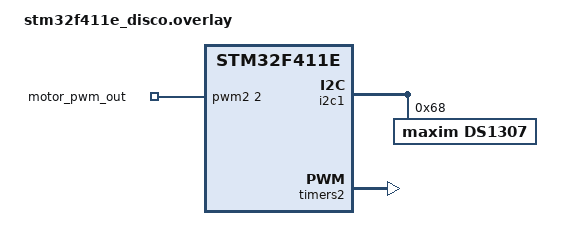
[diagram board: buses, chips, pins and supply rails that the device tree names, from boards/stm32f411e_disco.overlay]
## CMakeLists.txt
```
cmake_minimum_required(VERSION 3.20.0)
find_package(Zephyr REQUIRED HINTS $ENV{ZEPHYR_BASE})
project(solar_tracker)
target_sources(app PRIVATE src/main.c)
```

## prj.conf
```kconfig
CONFIG_I2C=y
CONFIG_GPIO=y
CONFIG_PWM=y
CONFIG_CONSOLE=y
CONFIG_PRINTK=y
CONFIG_STDOUT_CONSOLE=y
CONFIG_SERIAL=y
CONFIG_NEWLIB_LIBC=y
CONFIG_NEWLIB_LIBC_FLOAT_PRINTF=y
CONFIG_MAIN_STACK_SIZE=4096
CONFIG_LOG=n
CONFIG_SHELL=y
CONFIG_SHELL_BACKEND_SERIAL=y
```

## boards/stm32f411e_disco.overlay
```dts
#include <zephyr/dt-bindings/pwm/pwm.h>

&i2c1 {
	ds1307: ds1307@68 {
		compatible = "maxim,ds1307";
		reg = <0x68>;
	};
};

&timers2 {
    status = "okay";
    st,prescaler = <9>;   /* tune later once you know your target PWM freq */
    pwm2: pwm {
        status = "okay";
        pinctrl-0 = <&tim2_ch2_pa1>;   /* was tim2_ch1_pa1 - PA1 is CH2, not CH1 */
        pinctrl-names = "default";
    };
};

/ {
    pwmleds {
        compatible = "pwm-leds";
        motor_pwm_out: motor_pwm_out {
            pwms = <&pwm2 2 PWM_KHZ(1) PWM_POLARITY_NORMAL>;
        };
    };
    aliases {
        motor-pwm = &motor_pwm_out;
    };
};
```

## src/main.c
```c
#include <zephyr/kernel.h>
#include <zephyr/device.h>
#include <zephyr/drivers/i2c.h>
#include <zephyr/drivers/gpio.h>
#include <zephyr/drivers/pwm.h>
#include <zephyr/shell/shell.h>
#include <zephyr/sys/printk.h>
#include <stdio.h>
#include <stdlib.h>
#include <math.h>
#include <stdint.h>

#define I2C_NODE DT_NODELABEL(i2c1)

#define DS1307_ADDR   0x68
#define MPU6050_ADDR  0x69

#define RAD_TO_DEG 57.2957795f

/* Complementary filter coefficient */
#define ALPHA 0.98f

/* Sampling period (100 Hz) */
#define DT 0.01f
#define PI_F           3.14159265f
#define DEG_TO_RAD_F   (PI_F / 180.0f)

/* Puducherry, India */
#define SITE_LAT       11.9139f     // degrees N
#define SITE_LON       79.8145f     // degrees E
#define TIMEZONE_OFFSET 5.5f

#define ACTUATOR_MIN   60.0f
#define ACTUATOR_MAX   130.0f
#define ACTUATOR_FLAT  95.0f   // <-- CALIBRATE: raw actuator reading when panel is perfectly flat

#define MPU_ROLL_AT_FLAT           0.13f   // from your flat reading
#define MPU_ROLL_TO_ACTUATOR_SIGN  -1.0f   // <-- CALIBRATE: verify against real end-stops

typedef enum { MOTOR_STOP, MOTOR_FORWARD, MOTOR_REVERSE } motor_cmd_t;

/* FIX: this takes roll, not pitch - roll is the axis confirmed by your end-stop test */
float mpu_current_actuator_angle(float roll_now)
{
    float delta = roll_now - MPU_ROLL_AT_FLAT;
    float angle = ACTUATOR_FLAT + (MPU_ROLL_TO_ACTUATOR_SIGN * delta);

    if (angle < ACTUATOR_MIN) angle = ACTUATOR_MIN;
    if (angle > ACTUATOR_MAX) angle = ACTUATOR_MAX;

    return angle;
}

static const struct device *i2c;

/* Filtered angles */
float roll = 0.0f;
float pitch = 0.0f;

/* Gyroscope offsets (can be calibrated later) */
static float gyro_x_offset = 0.0f;
static float gyro_y_offset = 0.0f;
static float gyro_z_offset = 0.0f;

/* Sun position */
typedef struct
{
    float elevation;   // degrees above horizon (negative = below, sun down)
    float azimuth;     // degrees clockwise from true north
    float hour_angle;  // degrees, negative=morning, 0=solar noon, positive=afternoon
} sun_pos_t;


/* ---------------- RTC Structure ---------------- */

typedef struct
{
    uint8_t sec;
    uint8_t min;
    uint8_t hour;
    uint8_t day;
    uint8_t date;
    uint8_t month;
    uint8_t year;
} rtc_time_t;

/* ---------------- MPU Structure ---------------- */

typedef struct
{
    int16_t ax;
    int16_t ay;
    int16_t az;

    int16_t temp;

    int16_t gx;
    int16_t gy;
    int16_t gz;

} mpu6050_raw_t;


/* ---------------- BCD Conversion ---------------- */

static uint8_t bcd_to_dec(uint8_t value)
{
    return ((value >> 4) * 10) + (value & 0x0F);
}

static uint8_t dec_to_bcd(uint8_t value)
{
    return ((value / 10) << 4) | (value % 10);
}


/* ---------------- DS1307 Read ---------------- */

int rtc_read(rtc_time_t *t)
{
    uint8_t reg = 0x00;
    uint8_t data[7];

    if (i2c_write_read(i2c,
                       DS1307_ADDR,
                       &reg,
                       1,
                       data,
                       7))
    {
        return -1;
    }

    t->sec   = bcd_to_dec(data[0] & 0x7F);
    t->min   = bcd_to_dec(data[1]);
    t->hour  = bcd_to_dec(data[2] & 0x3F);
    t->day   = bcd_to_dec(data[3]);
    t->date  = bcd_to_dec(data[4]);
    t->month = bcd_to_dec(data[5]);
    t->year  = bcd_to_dec(data[6]);

    return 0;
}

/* ---------------- DS1307 Write ---------------- */

int rtc_write(rtc_time_t *t)
{
    uint8_t data[8];

    data[0] = 0x00;                       /* starting register address */
    data[1] = dec_to_bcd(t->sec) & 0x7F;  /* bit7=CH, cleared here to enable oscillator */
    data[2] = dec_to_bcd(t->min);
    data[3] = dec_to_bcd(t->hour) & 0x3F; /* forces 24-hour mode */
    data[4] = dec_to_bcd(t->day);         /* day-of-week, unused by sun calc */
    data[5] = dec_to_bcd(t->date);
    data[6] = dec_to_bcd(t->month);
    data[7] = dec_to_bcd(t->year);

    return i2c_write(i2c, data, 8, DS1307_ADDR);
}

/* ---------------- Shell Command: setrtc ---------------- */

static int cmd_setrtc(const struct shell *shell, size_t argc, char **argv)
{
    if (argc != 2)
    {
        shell_error(shell, "Usage: setrtc year,mon,day,hour,min,sec");
        return -EINVAL;
    }

    int year, mon, day, hour, min, sec;

    int n = sscanf(argv[1], "%d,%d,%d,%d,%d,%d",
                   &year, &mon, &day, &hour, &min, &sec);

    if (n != 6)
    {
        shell_error(shell, "Parse error - need 6 comma-separated values");
        return -EINVAL;
    }

    if (mon < 1 || mon > 12 || day < 1 || day > 31 ||
        hour > 23 || min > 59 || sec > 59)
    {
        shell_error(shell, "Value out of range");
        return -EINVAL;
    }

    rtc_time_t t = {
        .year  = (uint8_t)(year % 100),
        .month = (uint8_t)mon,
        .date  = (uint8_t)day,
        .hour  = (uint8_t)hour,
        .min   = (uint8_t)min,
        .sec   = (uint8_t)sec,
        .day   = 1   /* day-of-week, not used by sun_calculate() */
    };

    if (rtc_write(&t) == 0)
    {
        shell_print(shell, "RTC set: 20%02d-%02d-%02d %02d:%02d:%02d",
                    t.year, t.month, t.date, t.hour, t.min, t.sec);
    }
    else
    {
        shell_error(shell, "RTC write failed - check I2C");
    }

    return 0;
}

SHELL_CMD_REGISTER(setrtc, NULL,
                    "Set RTC time. Usage: setrtc year,mon,day,hour,min,sec",
                    cmd_setrtc);


/* ---------------- MPU6050 Wakeup ---------------- */

int mpu_init(void)
{
    uint8_t buf[2];

    buf[0] = 0x6B;
    buf[1] = 0x00;

    return i2c_write(i2c,
                     buf,
                     2,
                     MPU6050_ADDR);
}
/* ---------------- MPU6050 Read Raw Data ---------------- */

int mpu_read_raw(mpu6050_raw_t *raw)
{
    uint8_t reg = 0x3B;
    uint8_t data[14];

    if (i2c_write_read(i2c,
                       MPU6050_ADDR,
                       &reg,
                       1,
                       data,
                       14))
    {
        return -1;
    }

    raw->ax = (int16_t)((data[0] << 8) | data[1]);
    raw->ay = (int16_t)((data[2] << 8) | data[3]);
    raw->az = (int16_t)((data[4] << 8) | data[5]);

    raw->temp = (int16_t)((data[6] << 8) | data[7]);

    raw->gx = (int16_t)((data[8] << 8) | data[9]);
    raw->gy = (int16_t)((data[10] << 8) | data[11]);
    raw->gz = (int16_t)((data[12] << 8) | data[13]);

    return 0;
}


/* ---------------- Convert Raw Data ---------------- */

void calculate_angles(mpu6050_raw_t *raw,
                      float *roll_angle,
                      float *pitch_angle)
{
    /* Accelerometer values in g */
    float ax = raw->ax / 16384.0f;
    float ay = raw->ay / 16384.0f;
    float az = raw->az / 16384.0f;

    /* Gyroscope values in deg/s */
    float gx = (raw->gx / 131.0f) - gyro_x_offset;
    float gy = (raw->gy / 131.0f) - gyro_y_offset;

    /* Accelerometer angles */
    float accel_roll =
        atan2f(ay, az) * RAD_TO_DEG;

    float accel_pitch =
        atan2f(-ax,
               sqrtf((ay * ay) + (az * az)))
        * RAD_TO_DEG;

    /* Complementary Filter */

    *roll_angle =
        ALPHA *
        (*roll_angle + gx * DT)
        +
        (1.0f - ALPHA)
        *
        accel_roll;

    *pitch_angle =
        ALPHA *
        (*pitch_angle + gy * DT)
        +
        (1.0f - ALPHA)
        *
        accel_pitch;
}


/* ---------------- Temperature ---------------- */

float mpu_temperature(mpu6050_raw_t *raw)
{
    return (raw->temp / 340.0f) + 36.53f;
}


/* ---------------- Print Data ---------------- */

void print_status(rtc_time_t *rtc,
                  mpu6050_raw_t *raw)
{
    float temp = mpu_temperature(raw);

    printk("\n========================================\n");

    printk("Date : %02d/%02d/20%02d\n",
           rtc->date,
           rtc->month,
           rtc->year);

    printk("Time : %02d:%02d:%02d\n",
           rtc->hour,
           rtc->min,
           rtc->sec);

    printk("\n");

    printf("Roll x100  : %d\n", (int)(roll * 100));
    printf("Pitch x100 : %d\n", (int)(pitch * 100));
    printk("\n");

    printf("Temp x100  : %d\n", (int)(temp * 100));
    printk("\n");

    printk("Accel X : %6d\n", raw->ax);
    printk("Accel Y : %6d\n", raw->ay);
    printk("Accel Z : %6d\n", raw->az);

    printk("\n");

    printk("Gyro X : %6d\n", raw->gx);
    printk("Gyro Y : %6d\n", raw->gy);
    printk("Gyro Z : %6d\n", raw->gz);

    printk("========================================\n");
}

/* Day-of-year from date, using RTC's 2-digit year (assumes 20xx) */
static int day_of_year(uint8_t day_of_month, uint8_t month, uint8_t year_2digit)
{
    static const int cum_days[12] =
        {0, 31, 59, 90, 120, 151, 181, 212, 243, 273, 304, 334};

    int year = 2000 + year_2digit;
    int doy = cum_days[month - 1] + day_of_month;

    /* Leap year correction (valid 2000-2099) */
    int is_leap = (year % 4 == 0 && (year % 100 != 0 || year % 400 == 0));
    if (is_leap && month > 2)
    {
        doy += 1;
    }

    return doy;
}


void sun_calculate(rtc_time_t *t, sun_pos_t *out)
{
    int doy = day_of_year(t->date, t->month, t->year);

    float hour_decimal = t->hour + (t->min / 60.0f) + (t->sec / 3600.0f);

    /* Fractional year gamma, in radians */
    float gamma = (2.0f * PI_F / 365.0f) *
                  (doy - 1 + (hour_decimal - 12.0f) / 24.0f);

    /* Equation of time, in minutes */
    float eqtime = 229.18f * (0.000075f
                  + 0.001868f * cosf(gamma)
                  - 0.032077f * sinf(gamma)
                  - 0.014615f * cosf(2.0f * gamma)
                  - 0.040849f * sinf(2.0f * gamma));

    /* Solar declination, in radians */
    float decl = 0.006918f
                - 0.399912f * cosf(gamma)
                + 0.070257f * sinf(gamma)
                - 0.006758f * cosf(2.0f * gamma)
                + 0.000907f * sinf(2.0f * gamma)
                - 0.002697f * cosf(3.0f * gamma)
                + 0.001480f * sinf(3.0f * gamma);

    /* True solar time, in minutes */
    float time_offset = eqtime + 4.0f * SITE_LON - 60.0f * TIMEZONE_OFFSET;
    float tst = hour_decimal * 60.0f + time_offset;

    /* Hour angle, in degrees (-180 to 180, 0 = solar noon) */
    float ha_deg = (tst / 4.0f) - 180.0f;
    float ha_rad = ha_deg * DEG_TO_RAD_F;

    out->hour_angle = ha_deg;

    float lat_rad = SITE_LAT * DEG_TO_RAD_F;

    /* Solar zenith angle */
    float cos_zenith = sinf(lat_rad) * sinf(decl)
                      + cosf(lat_rad) * cosf(decl) * cosf(ha_rad);

    if (cos_zenith > 1.0f)  cos_zenith = 1.0f;
    if (cos_zenith < -1.0f) cos_zenith = -1.0f;

    float zenith_rad = acosf(cos_zenith);

    out->elevation = 90.0f - (zenith_rad / DEG_TO_RAD_F);

    /* Azimuth (clockwise from north, 0-360) */
    float cos_az = (sinf(decl) - sinf(lat_rad) * cos_zenith)
                   / (cosf(lat_rad) * sinf(zenith_rad));

    if (cos_az > 1.0f)  cos_az = 1.0f;
    if (cos_az < -1.0f) cos_az = -1.0f;

    float az_rad = acosf(cos_az);
    float az_deg = az_rad / DEG_TO_RAD_F;

    if (ha_deg > 0.0f)
    {
        out->azimuth = 360.0f - az_deg;
    }
    else
    {
        out->azimuth = az_deg;
    }
}

/* Below this elevation, tracking gains negligible energy but costs motor wear -
 * stop actively chasing the sun and hold position instead. Tune to taste. */
#define ELEVATION_CUTOFF   5.0f

/* Hour angle runs ~-120 (sunrise) to 0 (noon) to ~+120 (sunset) per your
 * clock-position description (60 -> 180 -> wraps to -60/300). This scale
 * compresses that ~120 deg half-swing into the actuator's real half-range
 * (ACTUATOR_MAX - ACTUATOR_FLAT). <-- CALIBRATE: 120 is approximate: if your
 * actuator hits its end-stop noticeably before/after true sunrise-sunset,
 * adjust this number up/down to match. */
#define HOUR_ANGLE_HALF_SWING  120.0f
#define HOUR_ANGLE_SCALE  ((ACTUATOR_MAX - ACTUATOR_FLAT) / HOUR_ANGLE_HALF_SWING)

float sun_to_actuator_angle(sun_pos_t *sun)
{
    float actuator_angle;

    if (sun->elevation < ELEVATION_CUTOFF)
    {
        /* Sun near/below horizon - hold at whichever end-stop matches
         * morning (before solar noon) or evening (after solar noon),
         * instead of always defaulting to one side. */
        actuator_angle = (sun->hour_angle < 0.0f) ? ACTUATOR_FLAT : ACTUATOR_FLAT;
    }
    else
    {
        actuator_angle = ACTUATOR_FLAT + (sun->hour_angle * HOUR_ANGLE_SCALE);

        if (actuator_angle < ACTUATOR_MIN) actuator_angle = ACTUATOR_FLAT;
        if (actuator_angle > ACTUATOR_MAX) actuator_angle = ACTUATOR_FLAT;
    }

    return actuator_angle;
}

motor_cmd_t tracker_control_step(float target_angle, float current_angle)
{
    int target_deg  = (int)roundf(target_angle);
    int current_deg = (int)roundf(current_angle);

    if (target_deg == current_deg)
    {
        return MOTOR_STOP;
    }
    else if (target_deg > current_deg)
    {
        return MOTOR_FORWARD;   // <-- CALIBRATE: confirm this drives toward 130 (sunset), not away
    }
    else
    {
        return MOTOR_REVERSE;
    }
}

/* ---------------- SmartElex 30S Motor Driver (DIR=PB15, PWM=PA0) ---------------- */

#define MOTOR_DIR_PORT_NODE   DT_NODELABEL(gpiob)
#define MOTOR_DIR_PIN         15

#define MOTOR_PWM_PERIOD_NS   PWM_KHZ(1)   // 1 kHz - fine for a DC brushed driver, adjust if the datasheet specifies otherwise
#define MOTOR_SPEED_PERCENT   70            // fixed drive duty (0-100) - bang-bang doesn't need variable speed

static const struct device *motor_dir_port;
static const struct pwm_dt_spec motor_pwm = PWM_DT_SPEC_GET(DT_ALIAS(motor_pwm));

int motor_init(void)
{
    motor_dir_port = DEVICE_DT_GET(MOTOR_DIR_PORT_NODE);

    if (!device_is_ready(motor_dir_port))
    {
        printk("Motor DIR GPIO port not ready!\n");
        return -1;
    }

    if (!device_is_ready(motor_pwm.dev))
    {
        printk("Motor PWM device not ready!\n");
        return -1;
    }

    return gpio_pin_configure(motor_dir_port, MOTOR_DIR_PIN, GPIO_OUTPUT_INACTIVE);
}

void motor_drive(motor_cmd_t cmd)
{
    uint32_t pulse = (MOTOR_PWM_PERIOD_NS * MOTOR_SPEED_PERCENT) / 100;
    int ret;

    switch (cmd)
    {
        case MOTOR_FORWARD:
            gpio_pin_set(motor_dir_port, MOTOR_DIR_PIN, 1);   /* <-- CALIBRATE: confirm this drives toward 130 deg */
            ret = pwm_set_dt(&motor_pwm, MOTOR_PWM_PERIOD_NS, pulse);
            if (ret) printk("pwm_set_dt FORWARD failed: %d\n", ret);
            break;

        case MOTOR_REVERSE:
            gpio_pin_set(motor_dir_port, MOTOR_DIR_PIN, 0);
            ret = pwm_set_dt(&motor_pwm, MOTOR_PWM_PERIOD_NS, pulse);
            if (ret) printk("pwm_set_dt REVERSE failed: %d\n", ret);
            break;

        case MOTOR_STOP:
        default:
            ret = pwm_set_dt(&motor_pwm, MOTOR_PWM_PERIOD_NS, 0);   /* 0% duty - motor off */
            if (ret) printk("pwm_set_dt STOP failed: %d\n", ret);
            break;
    }
}

/* ---------------- Main ---------------- */

int main(void)
{
    rtc_time_t rtc;
    mpu6050_raw_t raw;

    i2c = DEVICE_DT_GET(I2C_NODE);

    if (!device_is_ready(i2c))
    {
        printk("I2C device not ready!\n");
        return 0;
    }

    printk("\n");
    printk("=====================================\n");
    printk(" DS1307 + MPU6050 Demo\n");
    printk(" STM32F411E-DISCO + Zephyr\n");
    printk("=====================================\n");

    /* Wake up MPU6050 */

    if (mpu_init())
    {
        printk("Failed to initialize MPU6050\n");
        return 0;
    }

    printk("MPU6050 Initialized\n");

    if (motor_init())
    {
        printk("Failed to initialize motor driver\n");
        return 0;
    }

    printk("Motor Driver Initialized\n");

    /* Allow sensor to stabilize */

    k_sleep(K_MSEC(500));

    /* -------- Gyroscope Calibration -------- */

    printk("Calibrating Gyroscope...\n");

    float gx_sum = 0.0f;
    float gy_sum = 0.0f;
    float gz_sum = 0.0f;

    for (int i = 0; i < 500; i++)
    {
        if (mpu_read_raw(&raw) == 0)
        {
            gx_sum += raw.gx;
            gy_sum += raw.gy;
            gz_sum += raw.gz;
        }

        k_sleep(K_MSEC(2));
    }

    gyro_x_offset = (gx_sum / 500.0f) / 131.0f;
    gyro_y_offset = (gy_sum / 500.0f) / 131.0f;
    gyro_z_offset = (gz_sum / 500.0f) / 131.0f;

    printk("Calibration Complete\n");

    /* Initialize complementary filter */

    if (mpu_read_raw(&raw) == 0)
    {
        float ax = raw.ax / 16384.0f;
        float ay = raw.ay / 16384.0f;
        float az = raw.az / 16384.0f;

        roll =
            atan2f(ay, az) * RAD_TO_DEG;

        pitch =
            atan2f(-ax,
                   sqrtf(ay * ay + az * az))
            * RAD_TO_DEG;
    }

    int counter = 0;

    while (1)
    {
        if (rtc_read(&rtc) == 0 &&
            mpu_read_raw(&raw) == 0)
        {
            calculate_angles(&raw,
                             &roll,
                             &pitch);

            /* Print every 1 second */

            counter++;

            if (counter >= 100)
            {
                counter = 0;

                sun_pos_t sun;
                sun_calculate(&rtc, &sun);

                print_status(&rtc, &raw);

                float target_angle = sun_to_actuator_angle(&sun);

                printf("Target Actuator Angle x100 : %d\n", (int)(target_angle * 100));

                printf("Sun Elev x100 : %d\n", (int)(sun.elevation * 100));
                printf("Sun Azim x100 : %d\n", (int)(sun.azimuth * 100));

                /* FIX: use roll, not pitch - confirmed by end-stop test */
                float current_angle = mpu_current_actuator_angle(roll);

                printf("Current Actuator Angle x100 : %d\n", (int)(current_angle * 100));

                motor_cmd_t cmd = tracker_control_step(target_angle, current_angle);

                motor_drive(cmd);
            }
        }

        /* Complementary filter update at 100 Hz */

        k_sleep(K_MSEC(10));
    }

    return 0;
}
```
